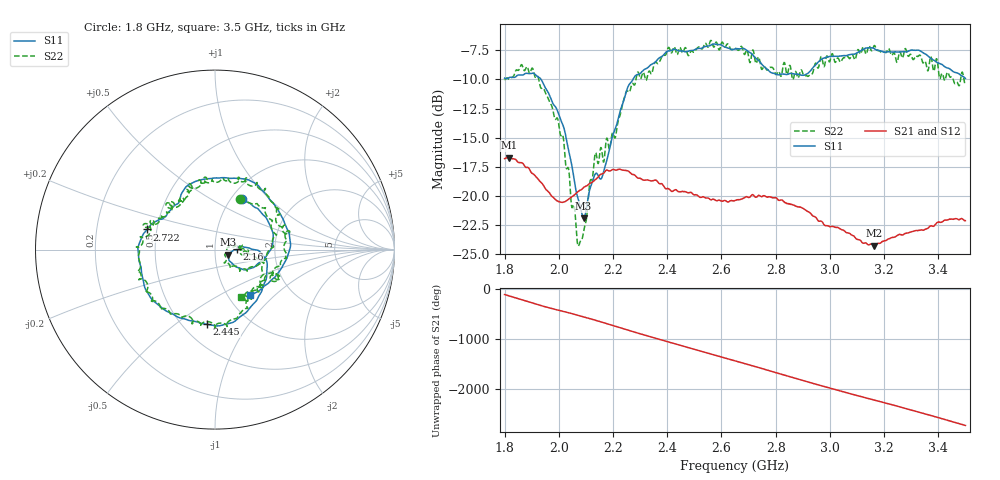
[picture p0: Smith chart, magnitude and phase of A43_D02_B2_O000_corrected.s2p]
! Created with skrf 1.9.0 (http://scikit-rf.org).
# Hz S RI R 50.0
!freq ReS11 ImS11 ReS21 ImS21 ReS12 ImS12 ReS22 ImS22
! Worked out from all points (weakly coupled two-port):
!   1601 points, 1.8 GHz to 3.5 GHz, reference 50 ohm
!   highest |S21| = -16.71 dB at 1.817 GHz (marker M1); lowest = -24.2 dB at 3.162 GHz (marker M2)
!   lowest |S11| = -21.9 dB at 2.091 GHz (marker M3), VSWR 1.17, Z = 58 - j3.24 ohm
!   |S11| at or under -10 dB: 1.934 GHz to 2.274 GHz (339.4 MHz wide, 16.1 % of centre)
!   |S22| runs from -24.3 to -6.7 dB; largest |S21 - S12| = 0.0025
!   S11 on the Smith chart (normalised r, x): 1.8 GHz: 1.13, +0.71; 2.16 GHz: 1.27, +0.01; 2.445 GHz: 0.65, -0.66; 2.722 GHz: 0.44, +0.12; 3.5 GHz: 1.26, -0.71
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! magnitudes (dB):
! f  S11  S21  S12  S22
! 1.8 GHz  -9.9  -16.8  -16.8  -10.0
! 1.817 GHz  -9.8  -16.7  -16.7  -10.0
! 1.902 GHz  -9.5  -18.1  -18.0  -9.0
! 1.967 GHz  -11.4  -19.8  -19.8  -12.0
! 2.02 GHz  -14.3  -20.5  -20.5  -15.8
! 2.07 GHz  -20.1  -19.6  -19.7  -24.2
! 2.084 GHz  -21.4  -19.5  -19.4  -23.7
! 2.091 GHz  -21.9  -19.3  -19.3  -23.1
! 2.131 GHz  -18.2  -18.7  -18.6  -16.8
! 2.16 GHz  -18.3  -18.1  -18.0  -16.4
! 2.209 GHz  -14.2  -17.8  -17.7  -14.9
! 2.257 GHz  -10.5  -17.9  -17.9  -11.1
! 2.367 GHz  -8.2  -18.9  -18.8  -8.6
! 2.445 GHz  -7.6  -19.6  -19.6  -7.3
! 2.65 GHz  -7.4  -20.4  -20.4  -7.3
! 2.722 GHz  -8.1  -20.0  -20.0  -8.1
! 2.806 GHz  -9.6  -20.2  -20.2  -9.5
! 2.934 GHz  -9.1  -21.6  -21.6  -9.5
! 3.162 GHz  -7.3  -24.2  -24.2  -7.2
! 3.217 GHz  -7.6  -23.7  -23.6  -7.4
! 3.33 GHz  -7.5  -22.9  -22.9  -7.9
! 3.5 GHz  -9.9  -22.1  -22.1  -10.4
